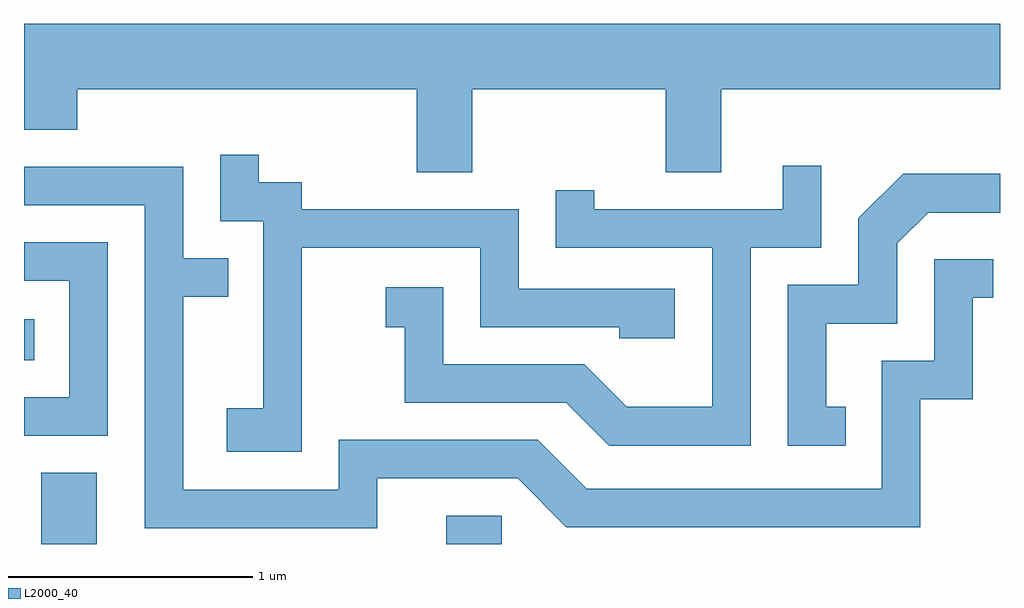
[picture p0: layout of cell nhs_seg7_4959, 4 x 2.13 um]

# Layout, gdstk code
import gdstk
lib = gdstk.Library(unit=1e-6, precision=1e-09)
def R(c, l, rs):  # rectangles x0, y0, x1, y1
    for r in rs: c.add(gdstk.rectangle(r[:2], r[2:], *l))
def P(c, l, *ps):  # polygons
    for p in ps: c.add(gdstk.Polygon(p, *l))
L2000_40 = (2000, 40)

nhs_seg7_4959 = lib.new_cell('nhs_seg7_4959')
R(nhs_seg7_4959, L2000_40, [(337.681,1690.252,337.909,1690.544), (339.341,1690.252,339.569,1690.369), (337.611,1691.006,337.653,1691.174)])
P(nhs_seg7_4959, L2000_40, [(339.449,1692.116),(340.241,1692.116),(340.241,1691.776),(340.469,1691.776),(340.469,1692.116),(341.611,1692.116),(341.611,1692.384),(337.611,1692.384),(337.611,1691.951),(337.829,1691.951),(337.829,1692.116),(339.221,1692.116),(339.221,1691.776),(339.449,1691.776)],
  [(338.749,1691.466),(339.481,1691.466),(339.481,1691.141),(340.051,1691.141),(340.051,1691.096),(340.279,1691.096),(340.279,1691.299),(339.639,1691.299),(339.639,1691.624),(338.749,1691.624),(338.749,1691.734),(338.574,1691.734),(338.574,1691.848),(338.416,1691.848),(338.416,1691.576),(338.591,1691.576),(338.591,1690.809),(338.441,1690.809),(338.441,1690.631),(338.749,1690.631)],
  [(340.589,1691.466),(340.879,1691.466),(340.879,1691.803),(340.721,1691.803),(340.721,1691.624),(339.949,1691.624),(339.949,1691.703),(339.791,1691.703),(339.791,1691.466),(340.431,1691.466),(340.431,1690.814),(340.082,1690.814),(339.907,1690.989),(339.329,1690.989),(339.329,1691.304),(339.093,1691.304),(339.093,1691.141),(339.171,1691.141),(339.171,1690.831),(339.834,1690.831),(340.009,1690.656),(340.589,1690.656)],
  [(339.059,1690.521),(339.634,1690.521),(339.834,1690.321),(341.284,1690.321),(341.284,1690.846),(341.499,1690.846),(341.499,1691.261),(341.583,1691.261),(341.583,1691.419),(341.341,1691.419),(341.341,1691.004),(341.126,1691.004),(341.126,1690.479),(339.917,1690.479),(339.717,1690.679),(338.901,1690.679),(338.901,1690.474),(338.264,1690.474),(338.264,1691.266),(338.448,1691.266),(338.448,1691.424),(338.264,1691.424),(338.264,1691.799),(337.611,1691.799),(337.611,1691.641),(338.106,1691.641),(338.106,1690.316),(339.059,1690.316)],
  [(340.978,1690.814),(340.899,1690.814),(340.899,1691.156),(341.189,1691.156),(341.189,1691.484),(341.317,1691.611),(341.611,1691.611),(341.611,1691.769),(341.214,1691.769),(341.031,1691.587),(341.031,1691.314),(340.741,1691.314),(340.741,1690.656),(340.978,1690.656)],
  [(337.954,1691.489),(337.611,1691.489),(337.611,1691.331),(337.796,1691.331),(337.796,1690.854),(337.611,1690.854),(337.611,1690.696),(337.954,1690.696)])

lib.write_gds('nhs_seg7_4959.gds')
